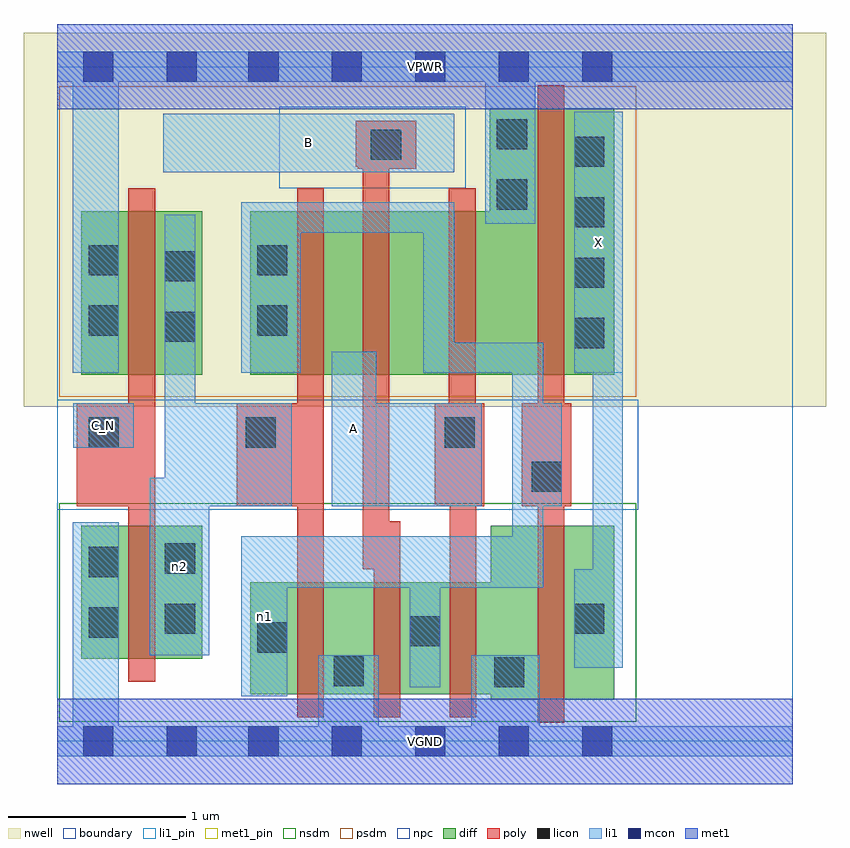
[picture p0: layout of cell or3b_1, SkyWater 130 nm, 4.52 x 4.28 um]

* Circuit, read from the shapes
.subckt or3b_1 A B C_N VGND VPWR X n1 n2
XM1 n2 C_N VGND VSUBS sky130_fd_pr__nfet_01v8 w=0.75 l=0.15
XM2 VGND n2 n1 VSUBS sky130_fd_pr__nfet_01v8 w=0.63 l=0.15
XM3 n1 B VGND VSUBS sky130_fd_pr__nfet_01v8 w=0.63 l=0.15
XM4 VGND A n1 VSUBS sky130_fd_pr__nfet_01v8 w=0.63 l=0.15
XM5 X n1 VGND VSUBS sky130_fd_pr__nfet_01v8 w=0.98 l=0.15
XM6 n2 C_N VPWR n3 sky130_fd_pr__pfet_01v8 w=0.92 l=0.15
XM7 n4 n2 n1 n3 sky130_fd_pr__pfet_01v8 w=0.92 l=0.15
XM8 n5 B n4 n3 sky130_fd_pr__pfet_01v8 w=0.92 l=0.15
XM9 VPWR A n5 n3 sky130_fd_pr__pfet_01v8 w=0.92 l=0.15
XM10 X n1 VPWR n3 sky130_fd_pr__pfet_01v8 w=1.5 l=0.15
.ends

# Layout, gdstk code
import gdstk
lib = gdstk.Library(unit=1e-6, precision=1e-09)
def R(c, l, rs):  # rectangles x0, y0, x1, y1
    for r in rs: c.add(gdstk.rectangle(r[:2], r[2:], *l))
def A(c, l, x, y, w, h, nx, ny, dx, dy):  # array of equal rectangles
    R(c, l, [(x+i*dx, y+j*dy, x+i*dx+w, y+j*dy+h) for i in range(nx) for j in range(ny)])
nwell = (64, 20)
diff = (65, 20)
poly = (66, 20)
licon = (66, 44)
li1_pin = (67, 16)
li1 = (67, 20)
mcon = (67, 44)
met1_pin = (68, 16)
met1 = (68, 20)
nsdm = (93, 44)
psdm = (94, 20)
npc = (95, 20)
boundary = (235, 4)

or3b_1 = lib.new_cell('or3b_1')
R(or3b_1, nwell, [(-0.19,1.885,4.33,3.99), (0,1.885,4.14,3.99)])
R(or3b_1, diff, [(2.44,0.235,3.135,1.215), (1.085,0.265,3.135,0.895), (0.135,0.465,0.815,1.215), (0.135,2.065,0.815,2.985), (1.085,2.065,3.135,2.985), (2.435,2.065,3.135,3.565)])
R(or3b_1, poly, [(2.705,0.105,2.855,3.695), (1.35,0.135,1.5,3.115), (1.78,0.135,1.93,1.24), (2.21,0.135,2.36,1.905), (0.4,0.335,0.55,3.115), (1.72,0.97,1.87,3.495), (0.11,1.325,0.55,1.905), (1.01,1.325,1.5,1.905), (2.135,1.325,2.405,1.905), (2.205,1.325,2.355,3.115), (2.615,1.325,2.895,1.905), (2.125,1.335,2.405,1.905), (1.69,3.225,2.02,3.495), (1.68,3.235,2.02,3.495)])
A(or3b_1, licon, 2.91, 2.215, 0.17, 0.17, 1, 4, 0, 0.34)
R(or3b_1, licon, [(2.46,0.305,2.63,0.475), (1.555,0.31,1.725,0.48), (1.125,0.5,1.295,0.67), (1.985,0.535,2.155,0.705), (0.175,0.585,0.345,0.755), (0.605,0.605,0.775,0.775), (2.91,0.605,3.08,0.775), (0.175,0.925,0.345,1.095), (0.605,0.945,0.775,1.115), (2.67,1.405,2.84,1.575), (0.175,1.655,0.345,1.825), (1.06,1.655,1.23,1.825), (2.18,1.655,2.35,1.825), (0.605,2.25,0.775,2.42), (0.175,2.285,0.345,2.455), (1.125,2.285,1.295,2.455), (0.605,2.59,0.775,2.76), (0.175,2.625,0.345,2.795), (1.125,2.625,1.295,2.795), (2.475,2.995,2.645,3.165), (1.765,3.275,1.935,3.445), (2.475,3.335,2.645,3.505)])
R(or3b_1, li1_pin, [(1.545,1.325,1.795,2.195), (0.09,1.655,0.43,1.905), (2.91,2.075,3.185,3.545), (0.595,3.205,2.235,3.535)])
R(or3b_1, li1, [(0,-0.085,4.14,0.085), (0.085,-0.085,0.345,1.235), (1.47,-0.085,1.81,0.485), (2.33,-0.085,2.715,0.485), (1.035,0.255,1.295,1.155), (1.985,0.305,2.155,1.155), (2.91,0.415,3.185,0.97), (3.015,0.415,3.185,3.545), (0.52,0.485,0.855,1.485), (0.605,0.485,0.775,2.965), (0.605,0.485,0.855,1.905), (1.035,0.865,2.735,1.155), (2.56,0.865,2.735,2.245), (0.605,1.325,1.32,1.905), (1.545,1.325,2.39,1.905), (1.545,1.325,1.795,2.195), (2.56,1.325,2.84,1.905), (0.09,1.655,0.43,1.905), (0.085,2.075,0.345,3.885), (1.035,2.075,1.37,3.035), (2.06,2.075,2.735,2.245), (2.06,2.075,2.235,3.035), (2.91,2.075,3.185,3.545), (1.035,2.865,2.235,3.035), (2.41,2.915,2.69,3.885), (0.595,3.205,2.235,3.535), (0,3.715,4.14,3.885)])
A(or3b_1, mcon, 1.075, -0.085, 0.17, 0.17, 5, 2, 0.47, 3.8)
R(or3b_1, mcon, [(0.145,-0.085,0.315,0.085), (0.615,-0.085,0.785,0.085), (0.145,3.715,0.315,3.885), (0.615,3.715,0.785,3.885)])
R(or3b_1, met1_pin, [(0,-0.24,4.14,0.24), (0,3.56,4.14,4.04)])
R(or3b_1, met1, [(0,-0.24,4.14,0.24), (0,3.56,4.14,4.04)])
R(or3b_1, nsdm, [(0.01,0.11,3.26,1.34)])
R(or3b_1, psdm, [(0.01,1.94,3.26,3.69)])
R(or3b_1, npc, [(0,1.305,3.27,1.925), (1.25,3.115,2.3,3.575)])
R(or3b_1, boundary, [(0,0,4.14,3.8)])
or3b_1.add(gdstk.Label('A', (1.67,1.76), layer=67, texttype=5))
or3b_1.add(gdstk.Label('B', (1.415,3.37), layer=67, texttype=5))
or3b_1.add(gdstk.Label('C_N', (0.26,1.78), layer=67, texttype=5))
or3b_1.add(gdstk.Label('X', (3.047,2.81), layer=67, texttype=5))
or3b_1.add(gdstk.Label('n2', (0.687,0.985), layer=67, texttype=5))
or3b_1.add(gdstk.Label('n1', (1.165,0.705), layer=67, texttype=5))
or3b_1.add(gdstk.Label('VPWR', (2.07,3.8), layer=68, texttype=5))
or3b_1.add(gdstk.Label('VGND', (2.07,0), layer=68, texttype=5))
or3b_1.add(gdstk.Label('A', (1.67,1.76), layer=67, texttype=16))
or3b_1.add(gdstk.Label('B', (1.415,3.37), layer=67, texttype=16))
or3b_1.add(gdstk.Label('C_N', (0.26,1.78), layer=67, texttype=16))
or3b_1.add(gdstk.Label('X', (3.047,2.81), layer=67, texttype=16))
or3b_1.add(gdstk.Label('VPWR', (2.07,3.8), layer=68, texttype=16))
or3b_1.add(gdstk.Label('VGND', (2.07,0), layer=68, texttype=16))

lib.write_gds('or3b_1.gds')
